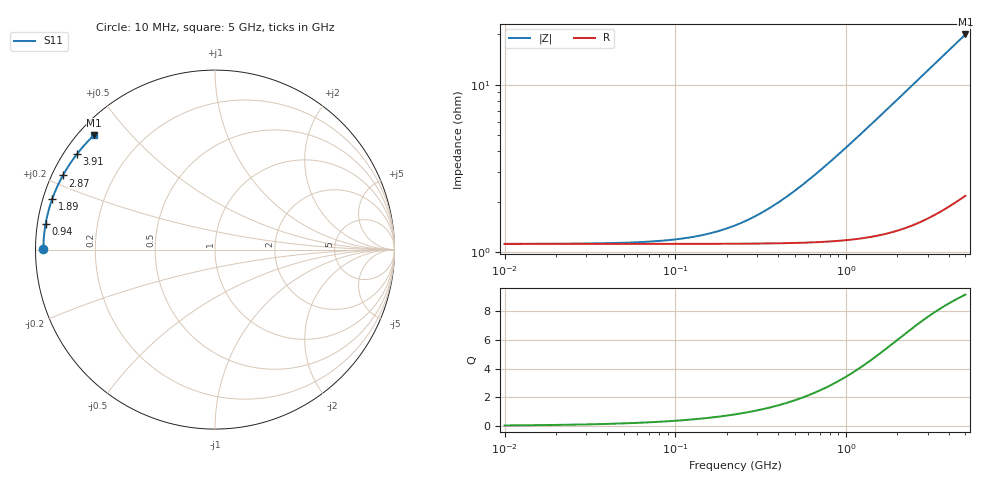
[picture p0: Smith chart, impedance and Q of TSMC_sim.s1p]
! Touchstone Ver. 1.0
! Number of ports is 1
# Hz	S	RI	R	50.000000
! SCATTERING PARAMETERS  :
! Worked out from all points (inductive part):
!   500 points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, 10 MHz to 5 GHz, reference 50 ohm
!   read as one part to ground: L = 643 pH near 860 MHz
!   highest Q = 9.18 at 5 GHz (marker M1), where L = 633 pH
!   S11 on the Smith chart (normalised r, x): 10 MHz: 0.02, +0.00; 940 MHz: 0.02, +0.08; 1.89 GHz: 0.03, +0.15; 2.87 GHz: 0.03, +0.23; 3.91 GHz: 0.04, +0.31; 5 GHz: 0.04, +0.40
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1e7  -0.9563 0.00155
3e7  -0.9563 0.00465
1.7e8  -0.9559 0.0264
3.2e8  -0.9548 0.0496
4.8e8  -0.953 0.0743
6.4e8  -0.9504 0.0988
7.9e8  -0.9473 0.1218
9.4e8  -0.9436 0.1445
1.1e9  -0.939 0.1686
1.26e9  -0.9336 0.1924
1.41e9  -0.9281 0.2145
1.57e9  -0.9215 0.2377
1.73e9  -0.9143 0.2606
1.89e9  -0.9066 0.2832
2.19e9  -0.8905 0.3246
2.51e9  -0.8714 0.3671
2.69e9  -0.8598 0.3903
2.87e9  -0.8477 0.413
3.13e9  -0.8292 0.4447
3.45e9  -0.8052 0.4822
3.76e9  -0.7808 0.5167
3.91e9  -0.7685 0.5328
4.14e9  -0.7494 0.5567
4.38e9  -0.7288 0.5807
4.56e9  -0.7131 0.5981
4.74e9  -0.6971 0.6148
4.98e9  -0.6755 0.6364
5e9  -0.6737 0.6381
